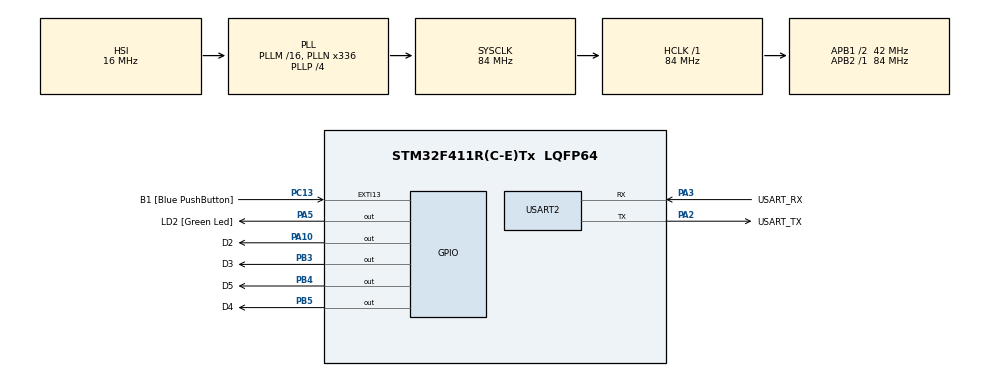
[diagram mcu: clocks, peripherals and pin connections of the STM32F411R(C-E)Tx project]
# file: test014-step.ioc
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Mcu.Family=STM32F4
Mcu.Name=STM32F411R(C-E)Tx
Mcu.Package=LQFP64
NVIC.PriorityGroup=NVIC_PRIORITYGROUP_0
PA10.GPIO_Label=D2
PA10.Signal=GPIO_Output
PA13.GPIO_Label=TMS
PA13.Mode=Serial_Wire
PA13.Signal=SYS_JTMS-SWDIO
PA14.GPIO_Label=TCK
PA14.Mode=Serial_Wire
PA14.Signal=SYS_JTCK-SWCLK
PA2.GPIO_Label=USART_TX
PA2.Mode=Asynchronous
PA2.Signal=USART2_TX
PA3.GPIO_Label=USART_RX
PA3.Mode=Asynchronous
PA3.Signal=USART2_RX
PA5.GPIO_Label=LD2 [Green Led]
PA5.Signal=GPIO_Output
PB3.GPIO_Label=D3
PB3.Signal=GPIO_Output
PB4.GPIO_Label=D5
PB4.Signal=GPIO_Output
PB5.GPIO_Label=D4
PB5.Signal=GPIO_Output
PC13-ANTI_TAMP.GPIO_Label=B1 [Blue PushButton]
PC13-ANTI_TAMP.GPIO_ModeDefaultEXTI=GPIO_MODE_IT_FALLING
PC13-ANTI_TAMP.Signal=GPXTI13
PC14-OSC32_IN.Mode=LSE-External-Oscillator
PC14-OSC32_IN.Signal=RCC_OSC32_IN
PC15-OSC32_OUT.Mode=LSE-External-Oscillator
PC15-OSC32_OUT.Signal=RCC_OSC32_OUT
PH0\ -\ OSC_IN.Mode=HSE-External-Clock-Source
PH0\ -\ OSC_IN.Signal=RCC_OSC_IN
PH1\ -\ OSC_OUT.Mode=HSE-External-Clock-Source
PH1\ -\ OSC_OUT.Signal=RCC_OSC_OUT
ProjectManager.HeapSize=0x200
ProjectManager.StackSize=0x400
ProjectManager.TargetToolchain=STM32CubeIDE
RCC.48MHZClocksFreq_Value=84000000
RCC.AHBFreq_Value=84000000
RCC.APB1CLKDivider=RCC_HCLK_DIV2
RCC.APB1Freq_Value=42000000
RCC.APB1TimFreq_Value=84000000
RCC.APB2Freq_Value=84000000
RCC.APB2TimFreq_Value=84000000
RCC.CortexFreq_Value=84000000
RCC.FLatency-AdvancedSettings=FLASH_LATENCY_2
RCC.HCLKFreq_Value=84000000
RCC.HSE_VALUE=8000000
RCC.HSI_VALUE=16000000
RCC.PLLN=336
RCC.PLLP=RCC_PLLP_DIV4
RCC.SYSCLKFreq_VALUE=84000000
RCC.SYSCLKSource=RCC_SYSCLKSOURCE_PLLCLK
RCC.VCOOutputFreq_Value=336000000
USART2.VirtualMode=VM_ASYNC
board=NUCLEO-F411RE

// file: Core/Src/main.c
/* USER CODE BEGIN Header */
/**
  ******************************************************************************
  * @file           : main.c
  * @brief          : Main program body
  ******************************************************************************
  * @attention
  *
  * Copyright (c) 2025 STMicroelectronics.
  * All rights reserved.
  *
  * This software is licensed under terms that can be found in the LICENSE file
  * in the root directory of this software component.
  * If no LICENSE file comes with this software, it is provided AS-IS.
  *
  ******************************************************************************
  */
/* USER CODE END Header */
#include "main.h"

UART_HandleTypeDef huart2;

void SystemClock_Config(void);
static void MX_GPIO_Init(void);
static void MX_USART2_UART_Init(void);

int main(void)
{

  /* MCU Configuration--------------------------------------------------------*/

  /* Reset of all peripherals, Initializes the Flash interface and the Systick. */
  HAL_Init();

  /* Configure the system clock */
  SystemClock_Config();

  /* Initialize all configured peripherals */
  MX_GPIO_Init();
  MX_USART2_UART_Init();
  /* USER CODE BEGIN 2 */

  ProgramStart("Step Motor Control");

  float cir = 0;
  float cnt = 0;
  /* USER CODE END 2 */

  /* Infinite loop */
  /* USER CODE BEGIN WHILE */
  while (1)
  {
	  printf("회전각 : "); scanf("%f",&cir);

	  cir = cir * 5.625;
	  printf("cir: %.0f\r\n", cir);

	  for(cnt = 0; cnt < cir; )
	  {
		  //Step1
		  HAL_GPIO_WritePin(D2_GPIO_Port, D2_Pin, 1);
		  HAL_GPIO_WritePin(D3_GPIO_Port, D3_Pin, 0);
		  HAL_GPIO_WritePin(D4_GPIO_Port, D4_Pin, 0);
		  HAL_GPIO_WritePin(D5_GPIO_Port, D5_Pin, 0);
		  HAL_Delay(10);
		  cnt += 1;
		  if(cnt > cir) break;

		  //Step2
		  HAL_GPIO_WritePin(D2_GPIO_Port, D2_Pin, 0);
		  HAL_GPIO_WritePin(D3_GPIO_Port, D3_Pin, 1);
		  HAL_GPIO_WritePin(D4_GPIO_Port, D4_Pin, 0);
		  HAL_GPIO_WritePin(D5_GPIO_Port, D5_Pin, 0);
		  HAL_Delay(10);
		  cnt += 1;
		  if(cnt > cir) break;

		  //Step3
		  HAL_GPIO_WritePin(D2_GPIO_Port, D2_Pin, 0);
		  HAL_GPIO_WritePin(D3_GPIO_Port, D3_Pin, 0);
		  HAL_GPIO_WritePin(D4_GPIO_Port, D4_Pin, 1);
		  HAL_GPIO_WritePin(D5_GPIO_Port, D5_Pin, 0);
		  HAL_Delay(10);
		  cnt += 1;
		  if(cnt > cir) break;

		  //Step4
		  HAL_GPIO_WritePin(D2_GPIO_Port, D2_Pin, 0);
		  HAL_GPIO_WritePin(D3_GPIO_Port, D3_Pin, 0);
		  HAL_GPIO_WritePin(D4_GPIO_Port, D4_Pin, 0);
		  HAL_GPIO_WritePin(D5_GPIO_Port, D5_Pin, 1);
		  HAL_Delay(10);
		  cnt += 1;
	  }

	  cnt = 0;
    /* USER CODE END WHILE */

  }
}

void SystemClock_Config(void)
{
  RCC_OscInitTypeDef RCC_OscInitStruct = {0};
  RCC_ClkInitTypeDef RCC_ClkInitStruct = {0};

  /** Configure the main internal regulator output voltage
  */
  __HAL_RCC_PWR_CLK_ENABLE();
  __HAL_PWR_VOLTAGESCALING_CONFIG(PWR_REGULATOR_VOLTAGE_SCALE1);

  /** Initializes the RCC Oscillators according to the specified parameters
  * in the RCC_OscInitTypeDef structure.
  */
  RCC_OscInitStruct.OscillatorType = RCC_OSCILLATORTYPE_HSI;
  RCC_OscInitStruct.HSIState = RCC_HSI_ON;
  RCC_OscInitStruct.HSICalibrationValue = RCC_HSICALIBRATION_DEFAULT;
  RCC_OscInitStruct.PLL.PLLState = RCC_PLL_ON;
  RCC_OscInitStruct.PLL.PLLSource = RCC_PLLSOURCE_HSI;
  RCC_OscInitStruct.PLL.PLLM = 16;
  RCC_OscInitStruct.PLL.PLLN = 336;
  RCC_OscInitStruct.PLL.PLLP = RCC_PLLP_DIV4;
  RCC_OscInitStruct.PLL.PLLQ = 4;
  if (HAL_RCC_OscConfig(&RCC_OscInitStruct) != HAL_OK)
  {
    Error_Handler();
  }

  /** Initializes the CPU, AHB and APB buses clocks
  */
  RCC_ClkInitStruct.ClockType = RCC_CLOCKTYPE_HCLK|RCC_CLOCKTYPE_SYSCLK
                              |RCC_CLOCKTYPE_PCLK1|RCC_CLOCKTYPE_PCLK2;
  RCC_ClkInitStruct.SYSCLKSource = RCC_SYSCLKSOURCE_PLLCLK;
  RCC_ClkInitStruct.AHBCLKDivider = RCC_SYSCLK_DIV1;
  RCC_ClkInitStruct.APB1CLKDivider = RCC_HCLK_DIV2;
  RCC_ClkInitStruct.APB2CLKDivider = RCC_HCLK_DIV1;

  if (HAL_RCC_ClockConfig(&RCC_ClkInitStruct, FLASH_LATENCY_2) != HAL_OK)
  {
    Error_Handler();
  }
}

static void MX_USART2_UART_Init(void)
{

  huart2.Instance = USART2;
  huart2.Init.BaudRate = 115200;
  huart2.Init.WordLength = UART_WORDLENGTH_8B;
  huart2.Init.StopBits = UART_STOPBITS_1;
  huart2.Init.Parity = UART_PARITY_NONE;
  huart2.Init.Mode = UART_MODE_TX_RX;
  huart2.Init.HwFlowCtl = UART_HWCONTROL_NONE;
  huart2.Init.OverSampling = UART_OVERSAMPLING_16;
  if (HAL_UART_Init(&huart2) != HAL_OK)
  {
    Error_Handler();
  }

}

static void MX_GPIO_Init(void)
{
  GPIO_InitTypeDef GPIO_InitStruct = {0};

  /* GPIO Ports Clock Enable */
  __HAL_RCC_GPIOC_CLK_ENABLE();
  __HAL_RCC_GPIOH_CLK_ENABLE();
  __HAL_RCC_GPIOA_CLK_ENABLE();
  __HAL_RCC_GPIOB_CLK_ENABLE();

  /*Configure GPIO pin Output Level */
  HAL_GPIO_WritePin(GPIOA, LD2_Pin|D2_Pin, GPIO_PIN_RESET);

  /*Configure GPIO pin Output Level */
  HAL_GPIO_WritePin(GPIOB, D3_Pin|D5_Pin|D4_Pin, GPIO_PIN_RESET);

  /*Configure GPIO pin : B1_Pin */
  GPIO_InitStruct.Pin = B1_Pin;
  GPIO_InitStruct.Mode = GPIO_MODE_IT_FALLING;
  GPIO_InitStruct.Pull = GPIO_NOPULL;
  HAL_GPIO_Init(B1_GPIO_Port, &GPIO_InitStruct);

  /*Configure GPIO pins : LD2_Pin D2_Pin */
  GPIO_InitStruct.Pin = LD2_Pin|D2_Pin;
  GPIO_InitStruct.Mode = GPIO_MODE_OUTPUT_PP;
  GPIO_InitStruct.Pull = GPIO_NOPULL;
  GPIO_InitStruct.Speed = GPIO_SPEED_FREQ_LOW;
  HAL_GPIO_Init(GPIOA, &GPIO_InitStruct);

  /*Configure GPIO pins : D3_Pin D5_Pin D4_Pin */
  GPIO_InitStruct.Pin = D3_Pin|D5_Pin|D4_Pin;
  GPIO_InitStruct.Mode = GPIO_MODE_OUTPUT_PP;
  GPIO_InitStruct.Pull = GPIO_NOPULL;
  GPIO_InitStruct.Speed = GPIO_SPEED_FREQ_LOW;
  HAL_GPIO_Init(GPIOB, &GPIO_InitStruct);

}

void Error_Handler(void)
{
  __disable_irq();
  while (1)
  {
  }
}
